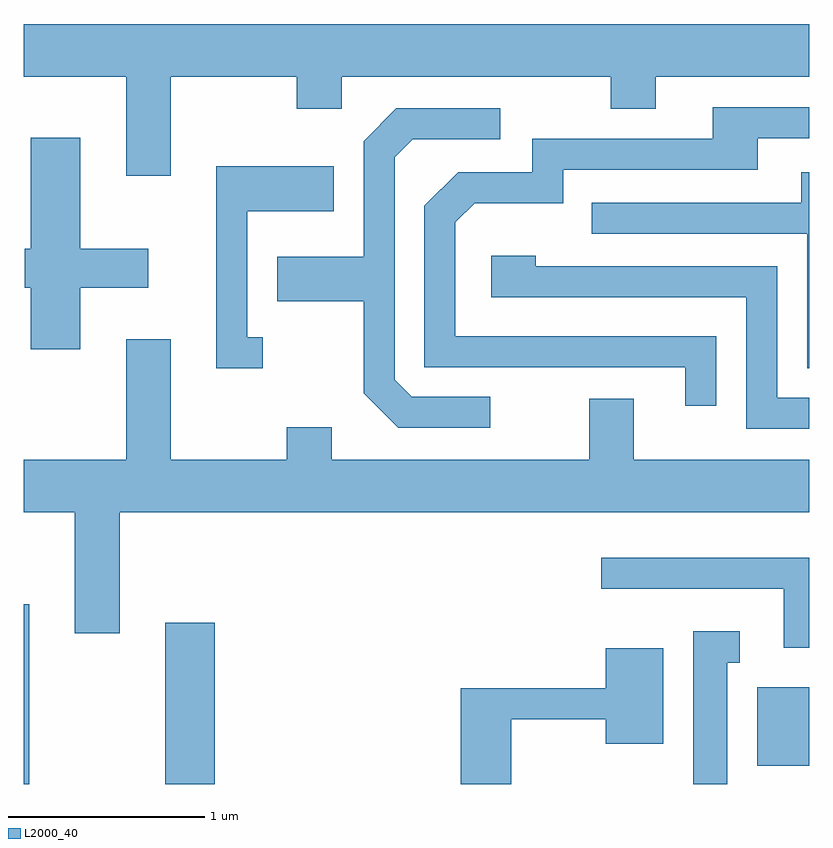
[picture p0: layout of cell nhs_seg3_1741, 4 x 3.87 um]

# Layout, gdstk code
import gdstk
lib = gdstk.Library(unit=1e-6, precision=1e-09)
def R(c, l, rs):  # rectangles x0, y0, x1, y1
    for r in rs: c.add(gdstk.rectangle(r[:2], r[2:], *l))
def P(c, l, *ps):  # polygons
    for p in ps: c.add(gdstk.Polygon(p, *l))
L2000_40 = (2000, 40)

nhs_seg3_1741 = lib.new_cell('nhs_seg3_1741')
R(nhs_seg3_1741, L2000_40, [(235.611,1197.892,235.639,1198.809), (236.331,1197.892,236.584,1198.714), (239.346,1197.986,239.611,1198.384)])
P(nhs_seg3_1741, L2000_40, [(236.359,1201.496),(237.001,1201.496),(237.001,1201.331),(237.229,1201.331),(237.229,1201.496),(238.601,1201.496),(238.601,1201.331),(238.829,1201.331),(238.829,1201.496),(239.611,1201.496),(239.611,1201.764),(235.611,1201.764),(235.611,1201.496),(236.131,1201.496),(236.131,1200.991),(236.359,1200.991)],
  [(239.139,1200.174),(237.809,1200.174),(237.809,1200.754),(237.907,1200.851),(238.359,1200.851),(238.359,1201.021),(239.349,1201.021),(239.349,1201.181),(239.611,1201.181),(239.611,1201.339),(239.121,1201.339),(239.121,1201.179),(238.201,1201.179),(238.201,1201.009),(237.824,1201.009),(237.651,1200.837),(237.651,1200.016),(238.981,1200.016),(238.981,1199.818),(239.139,1199.818)],
  [(237.988,1199.864),(237.587,1199.864),(237.499,1199.952),(237.499,1201.084),(237.592,1201.176),(238.038,1201.176),(238.038,1201.334),(237.509,1201.334),(237.341,1201.167),(237.341,1200.579),(236.901,1200.579),(236.901,1200.351),(237.341,1200.351),(237.341,1199.884),(237.519,1199.706),(237.988,1199.706)],
  [(235.899,1200.421),(236.244,1200.421),(236.244,1200.619),(235.899,1200.619),(235.899,1201.184),(235.646,1201.184),(235.646,1200.619),(235.616,1200.619),(235.616,1200.421),(235.646,1200.421),(235.646,1200.106),(235.899,1200.106)],
  [(236.828,1200.169),(236.749,1200.169),(236.749,1200.811),(237.189,1200.811),(237.189,1201.039),(236.591,1201.039),(236.591,1200.011),(236.828,1200.011)],
  [(239.611,1201.009),(239.571,1201.009),(239.571,1200.854),(238.503,1200.854),(238.503,1200.696),(239.601,1200.696),(239.601,1200.011),(239.611,1200.011)],
  [(239.611,1199.859),(239.449,1199.859),(239.449,1200.529),(238.219,1200.529),(238.219,1200.584),(237.991,1200.584),(237.991,1200.371),(239.291,1200.371),(239.291,1199.701),(239.611,1199.701)],
  [(236.099,1199.276),(239.611,1199.276),(239.611,1199.544),(238.719,1199.544),(238.719,1199.854),(238.491,1199.854),(238.491,1199.544),(237.179,1199.544),(237.179,1199.709),(236.951,1199.709),(236.951,1199.544),(236.359,1199.544),(236.359,1200.159),(236.131,1200.159),(236.131,1199.544),(235.611,1199.544),(235.611,1199.276),(235.871,1199.276),(235.871,1198.661),(236.099,1198.661)],
  [(239.611,1199.044),(238.553,1199.044),(238.553,1198.886),(239.481,1198.886),(239.481,1198.586),(239.611,1198.586)],
  [(239.194,1198.511),(239.258,1198.511),(239.258,1198.669),(239.021,1198.669),(239.021,1197.892),(239.194,1197.892)],
  [(238.094,1198.221),(238.576,1198.221),(238.576,1198.096),(238.869,1198.096),(238.869,1198.584),(238.576,1198.584),(238.576,1198.379),(237.836,1198.379),(237.836,1197.892),(238.094,1197.892)])

lib.write_gds('nhs_seg3_1741.gds')
